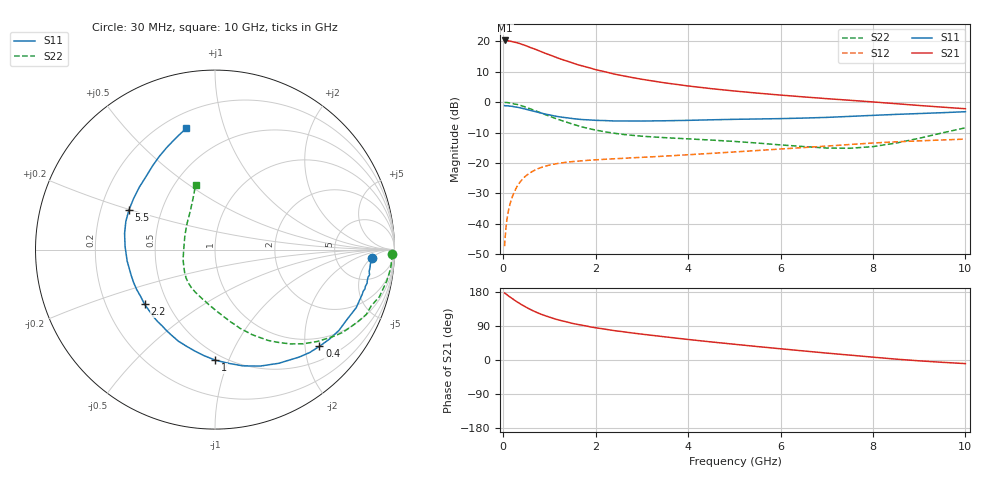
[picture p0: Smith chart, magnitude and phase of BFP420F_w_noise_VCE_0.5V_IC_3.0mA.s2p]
! Infineon Technologies  Discrete & RF Semiconductors
! BFP420F
! VCE =  0.5 V,  IC =  3.0 mA
! Common Emitter S-Parameters:  Sep 2011
# GHz  S  MA  R  50
!  f  S11  S21  S12  S22
! GHz  MAG  ANG  MAG  ANG  MAG  ANG  MAG  ANG
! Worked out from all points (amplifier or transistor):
!   54 points, 30 MHz to 10 GHz, reference 50 ohm
!   highest |S21| = 20.2 dB at 40 MHz (marker M1)
!   |S21| within 3 dB of that: start of sweep to 711.7 MHz
!   unconditionally stable (mu >= 1): 2.311 GHz to end of sweep
!   at 120 MHz: K = 0.06, MSG = 27.7 dB, |S12| = -35.2 dB
!   at 1.3 GHz: K = 0.58, MSG = 16.9 dB, |S12| = -19.9 dB
!   at 10 GHz: K = 1.48, MAG = 0.9 dB, |S12| = -12.2 dB
!   lowest NFmin = 0.85 dB at 450 MHz
!   S11 on the Smith chart (normalised r, x): 30 MHz: 13, -5; 400 MHz: 0.80, -2.32; 1 GHz: 0.45, -0.90; 2.2 GHz: 0.37, -0.30; 5.5 GHz: 0.32, +0.20; 10 GHz: 0.29, +0.75
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0.03  0.8762 -3.0  10.28 176.9  0.0043 89.8  0.9838 -1.5
0.04  0.8747 -4.0  10.29 175.9  0.0058 88.6  0.9867 -2.2
0.12  0.8626 -13.7  10.16 168.4  0.0174 82.4  0.9744 -9.6
0.25  0.833 -27.6  9.626 157.4  0.0347 73.8  0.9252 -19.8
0.3  0.8246 -33.0  9.439 153.4  0.0413 70.7  0.9172 -23.2
0.4  0.7932 -42.8  8.913 145.8  0.0524 65.1  0.8684 -30.0
0.5  0.7607 -51.9  8.375 139.0  0.0623 60.0  0.8193 -36.1
0.7  0.6961 -68.8  7.344 126.9  0.0777 51.5  0.719 -46.9
0.8  0.6662 -76.5  6.842 121.7  0.0833 48.1  0.6721 -51.4
1  0.6162 -89.8  5.972 113.1  0.0924 42.5  0.5872 -59.6
1.2  0.5755 -101.5  5.224 105.6  0.0987 38.2  0.5171 -66.4
1.3  0.5607 -106.7  4.926 102.6  0.1012 36.6  0.4869 -69.3
1.5  0.536 -116.5  4.399 96.5  0.1053 33.8  0.4346 -74.9
1.7  0.5168 -124.8  3.944 91.9  0.1085 31.8  0.3921 -80.3
2.2  0.4968 -142.1  3.151 81.4  0.1149 28.7  0.325 -92.2
2.8  0.4891 -157.8  2.525 71.2  0.1218 26.9  0.2841 -104.2
3.5  0.4935 -172.5  2.068 61.1  0.1297 26.4  0.2603 -115.4
4.5  0.5117 169.9  1.663 47.7  0.1438 25.8  0.2378 -128.7
5.5  0.528 155.3  1.404 35.5  0.1602 24.8  0.2124 -142.7
7  0.5607 133.0  1.139 18.2  0.1894 21.7  0.1759 -175.4
8.5  0.6281 115.5  0.941 2.3  0.2224 15.4  0.2124 137.3
10  0.6948 103.3  0.778 -9.5  0.2465 8.8  0.3778 106.6
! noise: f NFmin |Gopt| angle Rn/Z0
0.45  0.85  0.4  15  0.19
0.9  0.9  0.38  35  0.21
1.9  1.14  0.29  89  0.16
2.4  1.25  0.29  101  0.16
3.5  1.61  0.32  139  0.17
